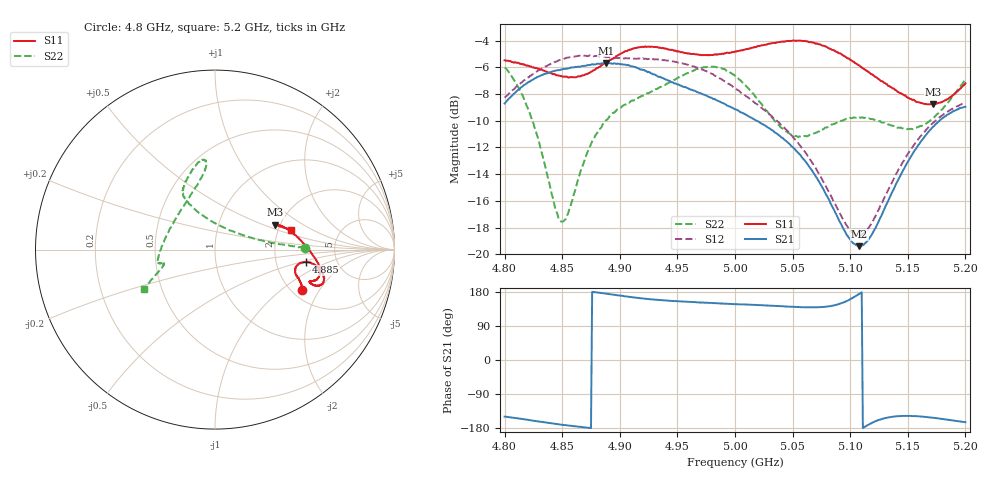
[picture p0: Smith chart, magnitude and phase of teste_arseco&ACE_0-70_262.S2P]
! Network Analyzer HP8722D
! Hewlett-Packard
! Data name: Linha & Wilkinson
! Saver's name: Rodrigo Anjos
! Comments: Teste da utilização de aquisição
! continua pelo VNA HP8722D
! Time and date: 8/5/2025 14:56
!  Frequency  S11  S21  S12  S22
# HZ  S  MA R 50
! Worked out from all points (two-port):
!   401 points, 4.8 GHz to 5.2 GHz, reference 50 ohm
!   highest |S21| = -5.66 dB at 4.888 GHz (marker M1); lowest = -19.4 dB at 5.108 GHz (marker M2)
!   |S21| within 3 dB of the highest: 4.8 GHz to 4.989 GHz (188.4 MHz wide, 3.85 % of centre)
!   lowest |S11| = -8.8 dB at 5.172 GHz (marker M3), VSWR 2.15, Z = 94.5 + j30.2 ohm
!   |S11| at or under -10 dB: nowhere
!   |S22| runs from -17.6 to -5.9 dB; largest |S21 - S12| = 1.1
!   S11 on the Smith chart (normalised r, x): 4.8 GHz: 2.25, -1.42; 4.885 GHz: 2.99, -0.56; 5.2 GHz: 2.34, +0.65
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4.8e9  0.5327 -25.0  0.3669 -149.4  0.3859 10.1  0.5002 1.2
4.812e9  0.521 -21.9  0.4133 -154.3  0.4309 8.4  0.4211 2.7
4.823e9  0.5049 -20.1  0.4474 -159.3  0.4677 6.8  0.3262 6.4
4.848e9  0.4659 -16.3  0.4893 -170.1  0.5341 2.7  0.134 55.9
4.855e9  0.4593 -14.2  0.497 -172.8  0.5454 1.5  0.1417 85.6
4.867e9  0.4662 -10.8  0.5066 -177.0  0.5519 -0.0  0.2103 111.3
4.885e9  0.5137 -7.7  0.5194 176.5  0.5493 -1.3  0.3058 119.7
4.888e9  0.5219 -7.7  0.5212 175.1  0.5476 -1.5  0.3179 120.3
4.913e9  0.5923 -11.0  0.5023 164.8  0.5408 -0.9  0.3792 118.0
4.934e9  0.5929 -15.7  0.4611 158.1  0.538 -1.7  0.421 111.9
4.975e9  0.5568 -18.9  0.3929 151.1  0.486 -5.4  0.502 98.7
5e9  0.5741 -19.7  0.3491 147.3  0.4188 -5.5  0.4653 96.3
5.018e9  0.5966 -19.6  0.3175 145.4  0.3668 -2.8  0.3871 103.3
5.042e9  0.6261 -17.9  0.2709 141.6  0.2999 2.1  0.2939 128.5
5.067e9  0.6213 -13.4  0.2057 138.9  0.2208 9.3  0.2819 164.5
5.098e9  0.5416 -2.8  0.1168 157.3  0.1263 37.9  0.322 -170.5
5.108e9  0.5086 2.0  0.1072 174.9  0.1177 57.7  0.3258 -168.0
5.118e9  0.4737 7.0  0.117 -167.1  0.1294 77.0  0.3209 -166.1
5.134e9  0.4262 14.7  0.1623 -151.0  0.1779 94.7  0.3055 -165.8
5.153e9  0.3813 21.0  0.2332 -147.8  0.2482 101.1  0.295 -164.3
5.172e9  0.3643 22.4  0.3002 -152.4  0.311 102.0  0.3239 -160.3
5.2e9  0.4369 14.8  0.3569 -164.2  0.3699 102.4  0.4511 -150.8
